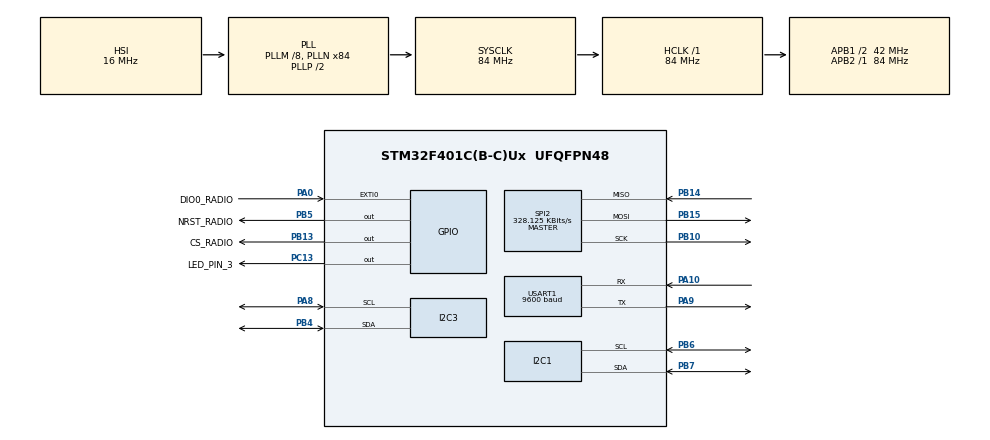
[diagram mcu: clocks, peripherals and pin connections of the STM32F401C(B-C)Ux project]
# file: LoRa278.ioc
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Mcu.Family=STM32F4
Mcu.Name=STM32F401C(B-C)Ux
Mcu.Package=UFQFPN48
NVIC.EXTI0_IRQn=true\:0\:0\:false\:false\:true\:true\:true\:true
NVIC.PriorityGroup=NVIC_PRIORITYGROUP_4
PA0-WKUP.GPIO_Label=DIO0_RADIO
PA0-WKUP.Signal=GPXTI0
PA10.Mode=Asynchronous
PA10.Signal=USART1_RX
PA8.Mode=I2C
PA8.Signal=I2C3_SCL
PA9.Mode=Asynchronous
PA9.Signal=USART1_TX
PB10.Mode=Full_Duplex_Master
PB10.Signal=SPI2_SCK
PB13.GPIO_Label=CS_RADIO
PB13.GPIO_ModeDefaultOutputPP=GPIO_MODE_OUTPUT_PP
PB13.GPIO_PuPd=GPIO_PULLUP
PB13.PinState=GPIO_PIN_SET
PB13.Signal=GPIO_Output
PB14.Mode=Full_Duplex_Master
PB14.Signal=SPI2_MISO
PB15.Mode=Full_Duplex_Master
PB15.Signal=SPI2_MOSI
PB4.Mode=I2C
PB4.Signal=I2C3_SDA
PB5.GPIO_Label=NRST_RADIO
PB5.Signal=GPIO_Output
PB6.Mode=I2C
PB6.Signal=I2C1_SCL
PB7.Mode=I2C
PB7.Signal=I2C1_SDA
PC13-ANTI_TAMP.GPIO_Label=LED_PIN_3
PC13-ANTI_TAMP.Signal=GPIO_Output
PH0\ -\ OSC_IN.Mode=HSE-External-Oscillator
PH0\ -\ OSC_IN.Signal=RCC_OSC_IN
PH1\ -\ OSC_OUT.Mode=HSE-External-Oscillator
PH1\ -\ OSC_OUT.Signal=RCC_OSC_OUT
ProjectManager.HeapSize=0x400
ProjectManager.StackSize=0x800
ProjectManager.TargetToolchain=STM32CubeIDE
RCC.48MHZClocksFreq_Value=42000000
RCC.AHBFreq_Value=84000000
RCC.APB1CLKDivider=RCC_HCLK_DIV2
RCC.APB1Freq_Value=42000000
RCC.APB1TimFreq_Value=84000000
RCC.APB2Freq_Value=84000000
RCC.APB2TimFreq_Value=84000000
RCC.CortexFreq_Value=84000000
RCC.HCLKFreq_Value=84000000
RCC.HSE_VALUE=25000000
RCC.HSI_VALUE=16000000
RCC.LSE_VALUE=32768
RCC.PLLM=8
RCC.PLLN=84
RCC.SYSCLKFreq_VALUE=84000000
RCC.SYSCLKSource=RCC_SYSCLKSOURCE_PLLCLK
RCC.VCOOutputFreq_Value=168000000
SPI2.BaudRatePrescaler=SPI_BAUDRATEPRESCALER_128
SPI2.CalculateBaudRate=328.125 KBits/s
SPI2.Direction=SPI_DIRECTION_2LINES
SPI2.Mode=SPI_MODE_MASTER
SPI2.VirtualType=VM_MASTER
USART1.BaudRate=9600
USART1.VirtualMode=VM_ASYNC
board=custom

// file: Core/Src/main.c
/* USER CODE BEGIN Header */
/**
  ******************************************************************************
  * @file           : main.c
  * @brief          : Main program body
  ******************************************************************************
  * @attention
  *
  * Copyright (c) 2026 STMicroelectronics.
  * All rights reserved.
  *
  * This software is licensed under terms that can be found in the LICENSE file
  * in the root directory of this software component.
  * If no LICENSE file comes with this software, it is provided AS-IS.
  *
  ******************************************************************************
  */
/* USER CODE END Header */
#include "main.h"
#include "i2c.h"
#include "spi.h"
#include "usart.h"
#include "gpio.h"

/* USER CODE BEGIN Includes */
#include "serial_print.h"
#include "lora278.h"
#include "hmc5883l.h"
#include "bmp280.h"
#include "mpu6050.h"
#include "motor_control.h"
#include "pca9685.h"
#include <stdio.h>
#include <string.h>
/* USER CODE END Includes */

/* USER CODE BEGIN PM */
#define LORA_FREQUENCY    433000000UL
#define LORA_SF           7
#define LORA_BW           125000UL
#define LORA_SYNC_WORD    0x12
/* USER CODE END PM */

/* USER CODE BEGIN PV */
extern UART_HandleTypeDef huart1;
extern I2C_HandleTypeDef hi2c1;
extern I2C_HandleTypeDef hi2c3;
static uint32_t last_tx_tick = 0;
static char tx_buf[200];
HMC5883L_Data_t mag_data;
BMP280_t sensor;
/* USER CODE END PV */

void SystemClock_Config(void);

/* USER CODE BEGIN 0 */
volatile bool _packetReady = false;
volatile int _pendingLength = 0;
void OnLoRaPacketReceived(int packetSize) {
    _pendingLength = packetSize;
    _packetReady = true;
}
void I2C_Scan(I2C_HandleTypeDef *hi2c, UART_HandleTypeDef *huart) {
    char buf[64];
    HAL_UART_Transmit(huart, (uint8_t*)"\r\n--- I2C BUS SCAN ---\r\n", 21, 100);

    for (uint8_t addr = 0x01; addr < 0x7F; addr++) {
        // HAL_I2C_IsDeviceReady принимает 8-битный адрес (addr << 1)
        if (HAL_I2C_IsDeviceReady(hi2c, addr << 1, 3, 50) == HAL_OK) {
            snprintf(buf, sizeof(buf), "[OK] 7-bit: 0x%02X | 8-bit: 0x%02X\r\n", addr, addr << 1);
            HAL_UART_Transmit(huart, (uint8_t*)buf, strlen(buf), 100);
        }
    }
    HAL_UART_Transmit(huart, (uint8_t*)"--- SCAN END ---\r\n", 17, 100);
}

Motor_HandleTypeDef motorA, motorB, motorC, motorD, motorE, motorF;
void move(int b, int d, int f, uint32_t duration_ms)
{
    Motor_SetSpeed(&motorB, b);
    Motor_SetSpeed(&motorD, d);
    Motor_SetSpeed(&motorF, f);

    // Используем переданное время
    if (duration_ms > 0) {
        HAL_Delay(duration_ms);
    }

    Motor_Brake(&motorB);
    Motor_Brake(&motorD);
    Motor_Brake(&motorF);
    HAL_Delay(2);

    Motor_Coast(&motorB);
    Motor_Coast(&motorD);
    Motor_Coast(&motorF);
    HAL_Delay(10); // Уменьшили задержку с 2000 до 10 мс для быстрой реакции на следующие команды
}
/* USER CODE END 0 */

int main(void)
{

  /* MCU Configuration--------------------------------------------------------*/

  /* Reset of all peripherals, Initializes the Flash interface and the Systick. */
  HAL_Init();

  /* Configure the system clock */
  SystemClock_Config();

  /* Initialize all configured peripherals */
  MX_GPIO_Init();
  MX_SPI2_Init();
  MX_USART1_UART_Init();
  MX_I2C1_Init();
  MX_I2C3_Init();
  /* USER CODE BEGIN 2 */
  HAL_Delay(100);
  PCA9685_Init(1000);
Motor_Init(&motorD, 0, 1);
Motor_Init(&motorC, 2, 3);
Motor_Init(&motorB, 4, 5);
Motor_Init(&motorA, 6, 7);
Motor_Init(&motorF, 11, 12);
Motor_Init(&motorE, 13, 14);

  // 1. Проверяем состояние SPI
  Serial_Printf(&huart1, "SPI State: 0x%02X\r\n", HAL_SPI_GetState(&hspi2));
  // Должно быть 0x20 (HAL_SPI_STATE_READY). Если 0x00 → MX_SPI2_Init() не вызван.

  // 2. Прямой тест SPI без обёрток
  uint8_t tx = 0x42 & 0x7F; // REG_VERSION
  uint8_t rx = 0;
  HAL_GPIO_WritePin(GPIOB, GPIO_PIN_13, GPIO_PIN_RESET);
  HAL_StatusTypeDef s1 = HAL_SPI_Transmit(&hspi2, &tx, 1, 10);
  tx = 0x00;
  HAL_StatusTypeDef s2 = HAL_SPI_TransmitReceive(&hspi2, &tx, &rx, 1, 10);
  HAL_GPIO_WritePin(GPIOB, GPIO_PIN_13, GPIO_PIN_SET);

  Serial_Printf(&huart1, "Tx Status: %d | Rx Status: %d | Got: 0x%02X\r\n", s1, s2, rx);

  uint8_t ver = LoRa_ReadReg(REG_VERSION);
  while(ver!=0x12){
	  ver = LoRa_ReadReg(REG_VERSION);
	  Serial_Printf(&huart1, "LoRa Version: 0x%02X\r\n", ver);
	  HAL_Delay(100);
	  break;
  }

  // 🚀 Инициализация радио
  if (!LoRa_Begin(433000000)) {
	  Serial_Printf(&huart1, "❌ LoRa init failed! Check wiring & SPI speed.\r\n");
	  Error_Handler();
  }

  // ⚙️ Параметры (точно как в твоём Arduino скетче)
  LoRa_SetSpreadingFactor(7);
  LoRa_SetSignalBandwidth(125000);
  LoRa_SetCodingRate4(5);
  LoRa_EnableCrc();
  LoRa_SetSyncWord(0x12);
  LoRa_SetTxPower(17, 1); // 17 dBm, PA_BOOST

  // 🔹 КРИТИЧЕСКИ ВАЖНО: Регистрация коллбэка и запуск приёма
  LoRa_OnReceive(OnLoRaPacketReceived); // Регистрируем вашу функцию
  LoRa_Receive(0);                      // 0 = explicit header, настраивает DIO0 + RX_CONTINUOUS

  Serial_Printf(&huart1, "📡 Ready. Sending every 2s...\r\n");
  /*if (HMC5883L_Init(&hi2c3) != HAL_OK) {
	  // Ошибка: датчик не отвечает или неверный ID
	  Error_Handler();
  }
  I2C_Scan(&hi2c3, &huart1);
  sensor.hi2c = &hi2c3;
  Serial_Printf(&huart1, "Init sensor... ");*/
  /*if (BMP280_Init(&sensor) == HAL_OK) {
      Serial_Printf(&huart1, "OK (chip: %s)\r\n", sensor.chip_id == 0x60 ? "BME280" : "BMP280");
  } else {
      Serial_Printf(&huart1, "FAIL\r\n");
      Error_Handler();
  }*/

  /*if (MPU6050_Init(&hi2c3) != HAL_OK) {
	  // Ошибка инициализации: проверьте подключение, подтяжки, адрес
	  Error_Handler();
  }*/

  /* USER CODE END 2 */

  /* Infinite loop */
  /* USER CODE BEGIN WHILE */
  char uart_buf[70];
  MPU6050_Raw_t raw;
  MPU6050_Physical_t phys;
  char command[50];
  while (1) {
	  if (_packetReady) {
	          _packetReady = false;
	          int i = 0;

	          // БЕЗОПАСНОСТЬ: читаем данные, но не больше, чем вмещает массив (защита от HardFault)
	          while (LoRa_Available() && i < sizeof(command) - 1) {
	              char c = (char)LoRa_Read();
	              command[i] = c;
	              i++;
	          }
	          command[i] = '\0'; // Гарантируем корректное завершение строки

	          Serial_Printf(&huart1, "RX: %s\r\n", command);

	          char direction[20];
	          int speed = 0;
	          int duration = 0;

	          // Пытаемся разобрать строку: "направление скорость время" (например, "right 80 400")
	          // %19s защищает массив direction от переполнения
	          if (sscanf(command, "%19s %d %d", direction, &speed, &duration) == 3) {
	              Serial_Printf(&huart1, "Parsed -> Dir: %s, Speed: %d, Time: %d ms\r\n", direction, speed, duration);

	              // БЕЗОПАСНОСТЬ: Ограничиваем значения, чтобы робот не сошел с ума от ошибочных данных
	              if (speed > 100) speed = 100;
	              if (speed < -100) speed = -100;
	              if (duration > 5000) duration = 5000; // Максимум 5 секунд на одну команду
	              if (duration < 0) duration = 0;

	              // Выполняем команду
	              if (strcmp(direction, "right") == 0) {
	                  // Предполагаем, что motorB отвечает за правую сторону (как в вашем исходном коде)
	                  move(0, speed, 0, duration);
	              }
	              else if (strcmp(direction, "left") == 0) {
	                  // Предполагаем, что motorD отвечает за левую сторону
	                  move(speed, 0, 0, duration);
	              }
	              else if (strcmp(direction, "forward") == 0) {
	                  move(speed, speed, speed, duration);
	              }
	              else if (strcmp(direction, "backward") == 0) {
	                  move(-speed, -speed, -speed, duration);
	              }
	              else if (strcmp(direction, "stop") == 0) {
	                  move(0, 0, 0, 0);
	              }
	              else {
	                  Serial_Printf(&huart1, "STM: Unknown direction '%s'\r\n", direction);
	              }
	          } else {
	              Serial_Printf(&huart1, "STM: Parse error. Use format: 'direction speed duration'\r\n");
	          }
	      }

	      HAL_Delay(10);
	  /*char buf[128];
	  if (MPU6050_ReadRaw(&hi2c1, &raw) == HAL_OK) {
		  MPU6050_ToPhysical(&raw, &phys);

		  // Вывод через UART (или используйте свою функцию логирования)

		  snprintf(buf, sizeof(buf),
				   "Accel: X=%.3f Y=%.3f Z=%.3f | Gyro: X=%.2f Y=%.2f Z=%.2f | T=%.1f°C\r\n",
				   phys.Accel_X, phys.Accel_Y, phys.Accel_Z,
				   phys.Gyro_X, phys.Gyro_Y, phys.Gyro_Z,
				   phys.Temp_C);
		  HAL_UART_Transmit(&huart1, (uint8_t*)buf, strlen(buf), HAL_MAX_DELAY);
	  }
	  float t, p, h;
	  if (BMP280_GetData(&sensor, &t, &p, &h) == HAL_OK) {
		  Serial_Printf(&huart1, "T: %.2f C | P: %.2f Pa", t, p);
		  if (sensor.chip_id == 0x60 && h >= 0) {
			  Serial_Printf(&huart1, " | H: %.2f %%", h);
		  }
		  Serial_Printf(&huart1, "\r\n");
	  }

	  HAL_StatusTypeDef status = HMC5883L_ReadData(&hi2c1, &mag_data);

	  if (status == HAL_OK) {
		  // Преобразование в микроТеслы (для gain ±1.3G: 1 LSB = 0.92 µT)
		  float x_uT = mag_data.x * 0.92f;
		  float y_uT = mag_data.y * 0.92f;
		  float z_uT = mag_data.z * 0.92f;

		  snprintf(uart_buf, sizeof(uart_buf), "X: %+5d (%.2f uT) | Y: %+5d (%.2f uT) | Z: %+5d (%.2f uT)\r\n",
				   mag_data.x, x_uT, mag_data.y, y_uT, mag_data.z, z_uT);
		  HAL_UART_Transmit(&huart1, (uint8_t*)uart_buf, strlen(uart_buf), HAL_MAX_DELAY);
	  } else if (status == HAL_BUSY) {
		  // Данные ещё не готовы (нормально при частоте опроса > 15 Гц)
	  } else {
		  // I2C ошибка
	  }*/
	  /*if (HAL_GetTick() - last_tx_tick >= 2000) {
		  last_tx_tick = HAL_GetTick();
		  //snprintf(tx_buf, sizeof(tx_buf), "T: %.2f C | P: %.2f Pa | H: %.2f %%\r\n%s%s\r\n", t, p, h, uart_buf, buf);
		  snprintf(tx_buf, sizeof(tx_buf), "CONTROLL\r\n");

		  Serial_Printf(&huart1, "TX: %s\r\n", tx_buf);

		  LoRa_BeginPacket(false);                     // Explicit header
		  LoRa_Write((uint8_t*)tx_buf, strlen(tx_buf)); // Загрузка в FIFO
		  int status = LoRa_EndPacket(false);          // Переключение в Tx и ожидание

		  if (status > 0)
			  Serial_Printf(&huart1, "✅ Sent OK\r\n");
		  else
			  Serial_Printf(&huart1, "❌ TX Error / Timeout\r\n");
	  }
	  HAL_Delay(2000);*/
    /* USER CODE END WHILE */

  }
}

void SystemClock_Config(void)
{
  RCC_OscInitTypeDef RCC_OscInitStruct = {0};
  RCC_ClkInitTypeDef RCC_ClkInitStruct = {0};

  /** Configure the main internal regulator output voltage
  */
  __HAL_RCC_PWR_CLK_ENABLE();
  __HAL_PWR_VOLTAGESCALING_CONFIG(PWR_REGULATOR_VOLTAGE_SCALE2);

  /** Initializes the RCC Oscillators according to the specified parameters
  * in the RCC_OscInitTypeDef structure.
  */
  RCC_OscInitStruct.OscillatorType = RCC_OSCILLATORTYPE_HSI;
  RCC_OscInitStruct.HSIState = RCC_HSI_ON;
  RCC_OscInitStruct.HSICalibrationValue = RCC_HSICALIBRATION_DEFAULT;
  RCC_OscInitStruct.PLL.PLLState = RCC_PLL_ON;
  RCC_OscInitStruct.PLL.PLLSource = RCC_PLLSOURCE_HSI;
  RCC_OscInitStruct.PLL.PLLM = 8;
  RCC_OscInitStruct.PLL.PLLN = 84;
  RCC_OscInitStruct.PLL.PLLP = RCC_PLLP_DIV2;
  RCC_OscInitStruct.PLL.PLLQ = 4;
  if (HAL_RCC_OscConfig(&RCC_OscInitStruct) != HAL_OK)
  {
    Error_Handler();
  }

  /** Initializes the CPU, AHB and APB buses clocks
  */
  RCC_ClkInitStruct.ClockType = RCC_CLOCKTYPE_HCLK|RCC_CLOCKTYPE_SYSCLK
                              |RCC_CLOCKTYPE_PCLK1|RCC_CLOCKTYPE_PCLK2;
  RCC_ClkInitStruct.SYSCLKSource = RCC_SYSCLKSOURCE_PLLCLK;
  RCC_ClkInitStruct.AHBCLKDivider = RCC_SYSCLK_DIV1;
  RCC_ClkInitStruct.APB1CLKDivider = RCC_HCLK_DIV2;
  RCC_ClkInitStruct.APB2CLKDivider = RCC_HCLK_DIV1;

  if (HAL_RCC_ClockConfig(&RCC_ClkInitStruct, FLASH_LATENCY_2) != HAL_OK)
  {
    Error_Handler();
  }
}

/* USER CODE BEGIN 4 */
void HAL_GPIO_EXTI_Callback(uint16_t GPIO_Pin) {
    if (GPIO_Pin == LORA_DIO0_PIN) {
        LoRa_HandleDio0Rise();  // 👈 Обработка приёма
    }
}
/* USER CODE END 4 */

void Error_Handler(void)
{
  __disable_irq();
  while (1)
  {
  }
}
